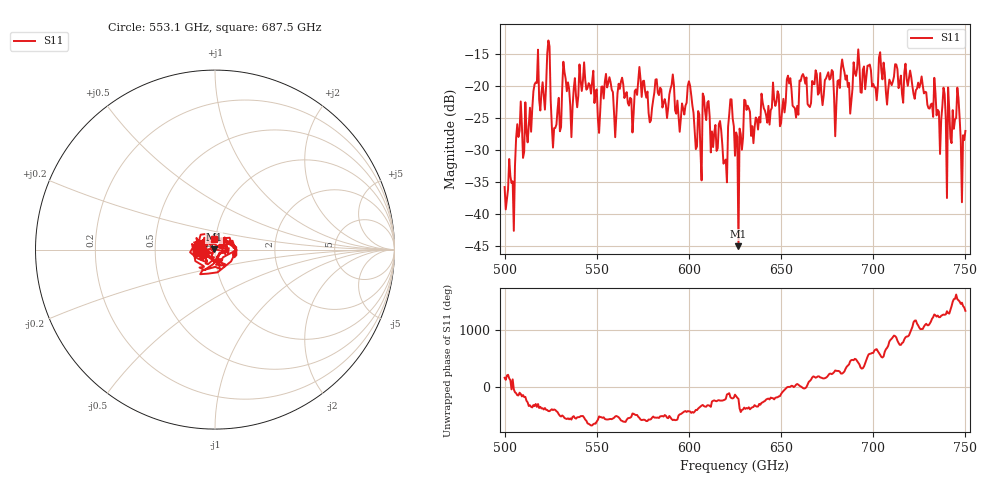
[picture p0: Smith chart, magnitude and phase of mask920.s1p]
!Created with skrf (http://scikit-rf.org).
# GHz S MA R 50.0
!freq magS11 angS11
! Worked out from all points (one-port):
!   401 points, 500 GHz to 750 GHz, reference 50 ohm
!   lowest |S11| = -45.1 dB at 626.9 GHz (marker M1), VSWR 1.01, Z = 49.5 + j0.203 ohm
!   |S11| at or under -10 dB: start of sweep to end of sweep
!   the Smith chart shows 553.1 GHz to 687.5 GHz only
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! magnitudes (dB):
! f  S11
! 500 GHz  -35.9
! 516.9 GHz  -19.5
! 520.6 GHz  -19.5
! 523.8 GHz  -13.0
! 526.9 GHz  -26.7
! 531.2 GHz  -20.5
! 560 GHz  -28.1
! 562.5 GHz  -20.5
! 579.4 GHz  -25.5
! 590.6 GHz  -19.9
! 593.8 GHz  -22.4
! 600.6 GHz  -20.0
! 605.6 GHz  -24.5
! 608.8 GHz  -24.0
! 619.4 GHz  -31.9
! 622.5 GHz  -22.1
! 625 GHz  -31.0
! 626.9 GHz  -45.1
! 631.2 GHz  -23.8
! 635 GHz  -29.0
! 656.2 GHz  -23.1
! 676.9 GHz  -18.9
! 680 GHz  -23.0
! 683.8 GHz  -17.1
! 687.5 GHz  -24.4
! 690.6 GHz  -18.5
! 718.8 GHz  -20.0
! 750 GHz  -27.1
